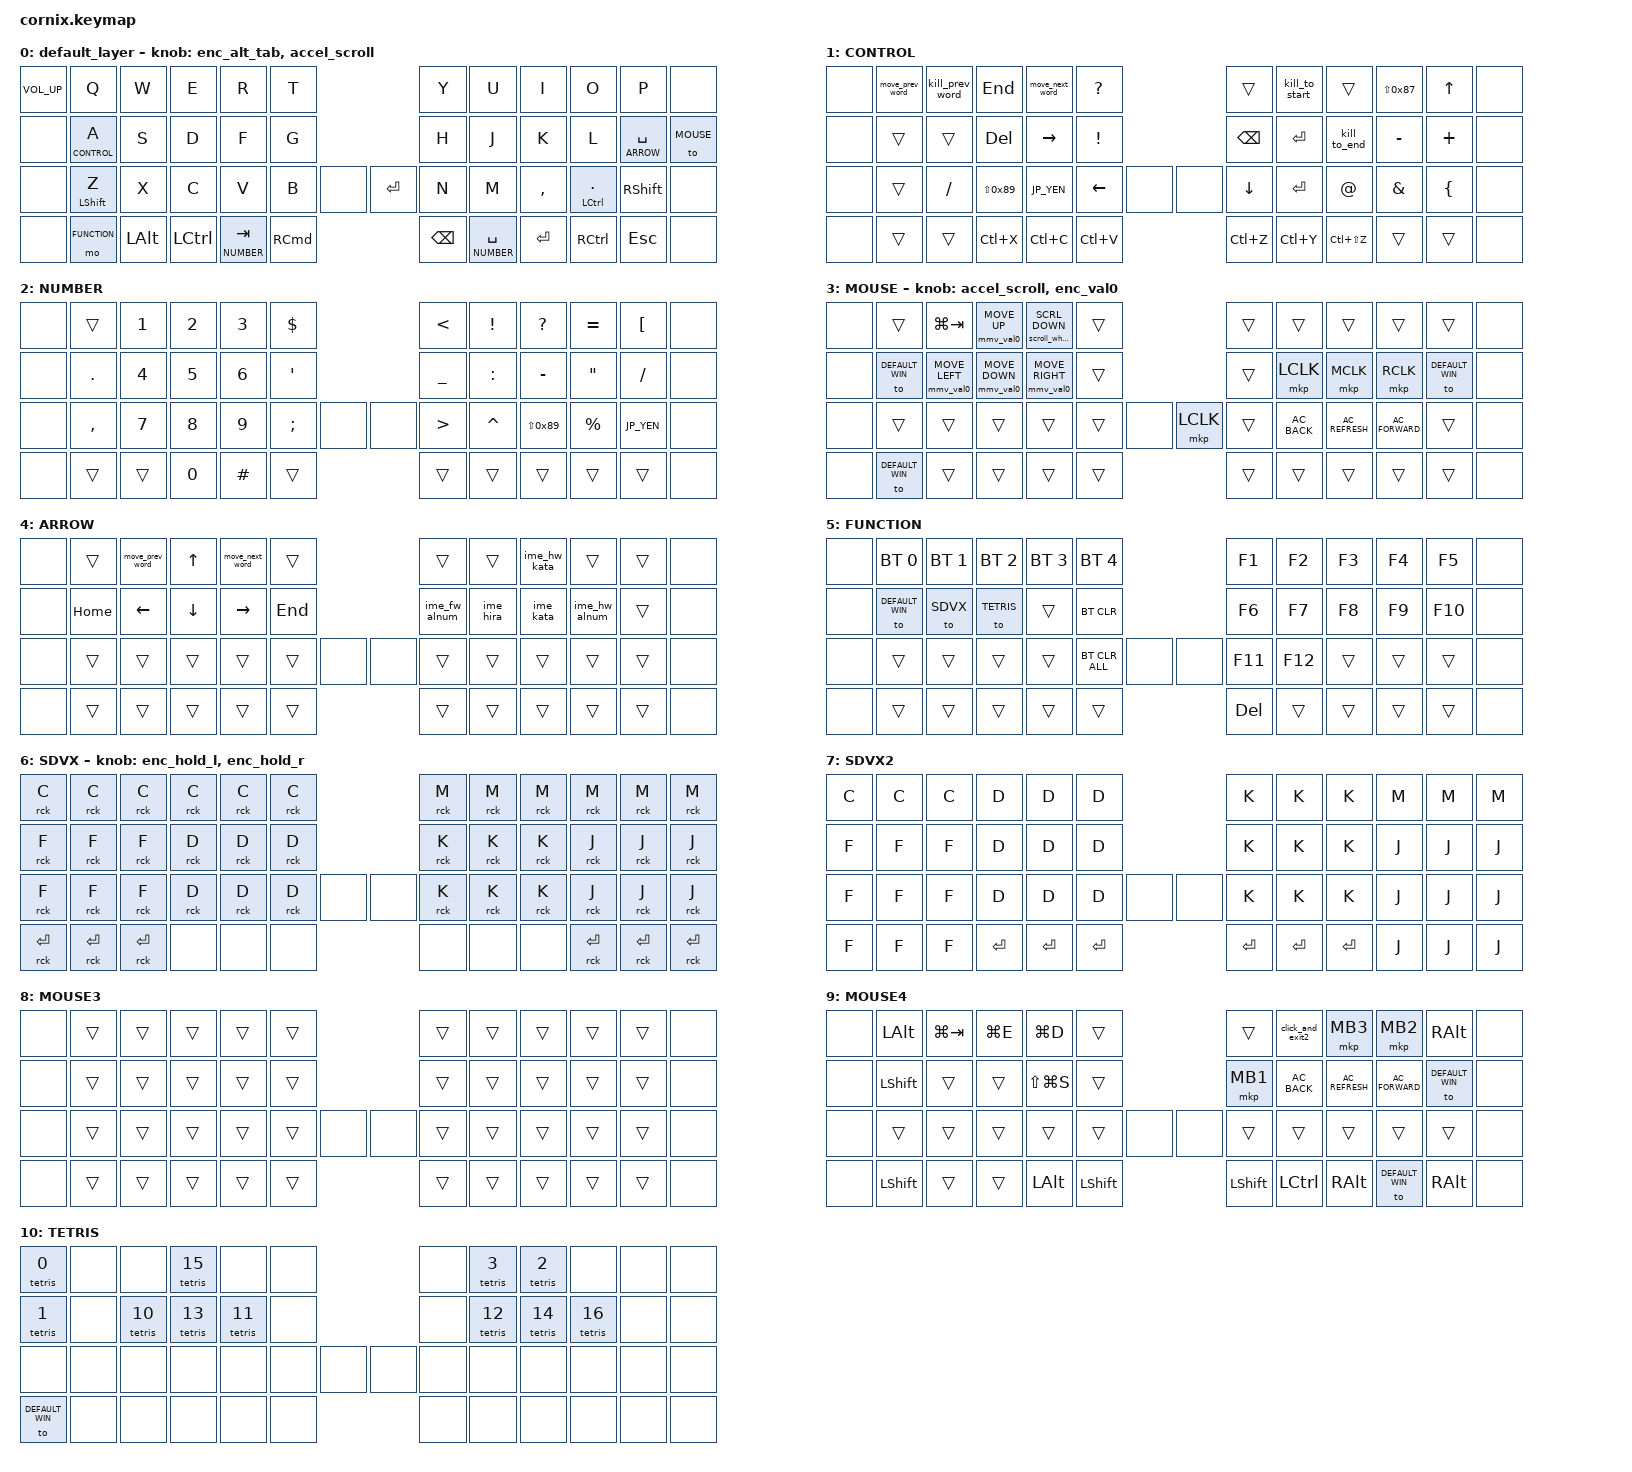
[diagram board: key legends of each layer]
/*
 * Cornix keymap - ported from your previous keyboard
 * Extra outer columns are set to &none.
 */

#include <behaviors.dtsi>
#include <dt-bindings/zmk/bt.h>
#include <dt-bindings/zmk/keys.h>
#include <dt-bindings/zmk/pointing.h>
#include <dt-bindings/zmk/modifiers.h>
#include <dt-bindings/zmk/behaviors.h>
#include <dt-bindings/zmk/mouse.h>
#include <input/processors.dtsi>

// -------------------------
// Layer defines (same as before)
// -------------------------
#define DEFAULT_WIN 0
#define DEFAULT_MAC 11
#define DEFAULT_IPAD 12
#define CONTROL 1
#define NUMBER 2
#define MOUSE 3
#define ARROW 4
#define FUNCTION 5
#define SDVX 6
#define SDVX2 7
#define MOUSE3 8
#define MOUSE4 9
#define TETRIS 10

// -------------------------
// JP key conversion (same as before)
// -------------------------
#define JP_DQUOTE       AT                // "
#define JP_AMPERSAND    CARET             // &
#define JP_QUOTE        AMPERSAND         // '
#define JP_EQUAL        UNDER             // =
#define JP_CARET        EQUAL             // ^
#define JP_YEN          0x89              // ¥
#define JP_PLUS         COLON             // +
#define JP_TILDE        PLUS              // ~
#define JP_PIPE         LS(0x89)          // |
#define JP_AT           LEFT_BRACKET      // @
#define JP_COLON        SINGLE_QUOTE      // :
#define JP_ASTERISK     DOUBLE_QUOTES     // *
#define JP_BACKQUOTE    LEFT_BRACE        // `
#define JP_UNDERSCORE   LS(0x87)          // _
#define JP_LBRACKET     RIGHT_BRACKET     // [
#define JP_RBRACKET     BACKSLASH         // ]
#define JP_LPAREN       ASTERISK          // (
#define JP_RPAREN       LEFT_PARENTHESIS  // )
#define JP_LBRACE       RIGHT_BRACE       // {
#define JP_RBRACE       PIPE              // }
#define JP_KANA         LANGUAGE_1        // かな
#define JP_EISU         LANGUAGE_2        // 英数
#define JP_HANZEN       GRAVE             // 半角/全角

&msc_input_listener {
    input-processors = <&zip_scroll_scaler 1 1>;
};

/ {

    scroll1_listener: scroll1_listener {
        compatible = "zmk,input-listener";
        status = "okay";
        device = <&scroll1>;
    };

    behaviors {
        sl_mouse: sticky_layer_for_mouse {
            compatible = "zmk,behavior-sticky-key";
            #binding-cells = <1>;
            bindings = <&mo>;
            release-after-ms = <200>;
            quick-release;
            ignore-modifiers;
        };

        colon_semi: colon_semi {
            compatible = "zmk,behavior-mod-morph";
            #binding-cells = <0>;
            bindings = <&kp SEMICOLON>, <&kp JP_COLON>;
            mods = <(MOD_LSFT|MOD_RSFT)>;
        };

        long_mt: long_mt {
            compatible = "zmk,behavior-hold-tap";
            #binding-cells = <2>;
            tapping-term-ms = <300>;
            flavor = "tap-preferred";
            bindings = <&kp>, <&kp>;
        };

        long_lt: long_lt {
            compatible = "zmk,behavior-hold-tap";
            #binding-cells = <2>;
            tapping-term-ms = <400>;
            flavor = "tap-preferred";
            bindings = <&mo>, <&kp>;
        };

        skm: sticky_key_mouse {
            compatible = "zmk,behavior-sticky-key";
            #binding-cells = <1>;
            bindings = <&msc>;
            release-after-ms = <10>;
            quick-release;
            ignore-modifiers;
        };

        rot_scroll2: rot_scroll2 {
            compatible = "zmk,behavior-sensor-rotate";
            #sensor-binding-cells = <0>;
            tap-ms = <20>;
            bindings = <&msc SCRL_UP>, <&msc SCRL_DOWN>;
        };

        enc_hold_l: enc_hold_l {
            compatible = "zmk,behavior-sensor-hold-step-rotate";
            #sensor-binding-cells = <0>;
            step-group-size = <0>;
            timeout-ms = <200>;
            direction-hold-mode = <0>;

            require-top-layer;


            bindings = <
                &kp A   /* hold_cw  */
                &kp S   /* hold_ccw */
                &none    /* step_cw  */
                &none   /* step_ccw */
            >;
        };
        enc_hold_r: enc_hold_r {
            compatible = "zmk,behavior-sensor-hold-step-rotate";
            #sensor-binding-cells = <0>;
            step-group-size = <0>;
            timeout-ms = <200>;
            direction-hold-mode = <0>;

            require-top-layer;

            bindings = <
                &kp L   /* hold_cw  */
                &kp SEMICOLON   /* hold_ccw */
                &none    /* step_cw  */
                &none   /* step_ccw */
            >;
        };
        rot_scroll: rot_scroll {
            compatible = "zmk,behavior-sensor-hold-rotate";
            #sensor-binding-cells = <0>;
            timeout-ms = <200>;
            bindings = <&msc SCRL_UP &msc SCRL_DOWN>;
        };

        rck: refcount_key {
            compatible = "zmk,behavior-refcount-key";
            #binding-cells = <1>;
        };

        enc_alt_tab: enc_alt_tab {
            compatible = "zmk,behavior-sensor-hold-step-rotate";
            #sensor-binding-cells = <0>;

            timeout-ms = <1000>;
            step-group-size = <5>;
            direction-hold-mode = <1>;

            quick-release;
            quick-release-allow-list = <LALT TAB LS(TAB)>;

            require-top-layer;

            bindings = <
                &kp LALT   /* hold_cw  */
                &kp LALT   /* hold_ccw */
                &kp TAB    /* step_cw  */
                &kp LS(TAB)    /* step_ccw */
            >;
        };

        enc_val0: enc_val0 {
            compatible = "zmk,behavior-sensor-value-adjust";
            #sensor-binding-cells = <0>;

            bindings = <&none &none>;

            index = <1>;
            min = <0>;
            max = <100>;
            step = <5>;
            ticks-per-step = <1>;
        };

        mmv_val0: mmv_val0 {
            compatible = "zmk,behavior-mouse-move-value";
            #binding-cells = <1>;
            binding = <&mmv>;
            index = <1>;

            value-min = <0>;
            value-max = <100>;
            min-speed = <200>;
            max-speed = <3000>;
            trigger-period-ms = <40>;
        };

        scroll_wheel: scroll_wheel {
            compatible = "zmk,behavior-input-two-axis";
            #binding-cells = <1>;
            x-input-code = <INPUT_REL_HWHEEL>;
            y-input-code = <INPUT_REL_WHEEL>;
            trigger-period-ms = <20>;
            time-to-max-speed-ms = <0>;  // 0にすると加速なし（即max）扱いになりやすい
            // acceleration-exponent = <0>; // 必要なら
        };


        scroll1: scroll1 {
            compatible = "zmk,behavior-input-two-axis-oneshot";
            #binding-cells = <1>;

            x-input-code = <INPUT_REL_HWHEEL>;
            y-input-code = <INPUT_REL_WHEEL>;

            trigger-period-ms = <16>;
            time-to-max-speed-ms = <0>;

            oneshot-scale = <1>;
        };
         scroll2: scroll2 {
            compatible = "zmk,behavior-sensor-rotate";
            #sensor-binding-cells = <0>;
            bindings = <&scroll1 MOVE(0,-1)>, <&scroll1 MOVE(0,1)>;
        };
        accel_scroll: accel_scroll {
            compatible = "zmk,behavior-sensor-rotate-accel";
            #sensor-binding-cells = <0>;

            // cw / ccw
            bindings = <&scroll1 MOVE(0,-1)>, <&scroll1 MOVE(0, 1)>;

            dt-min-ms = <10>;
            dt-max-ms = <50>;

            steps-min = <1>;
            steps-max = <5>;    // 要望どおり上限5

            curve = <1>;        // 0=linear, 1=quad, 2=cubic
            same-dir-only;      // 逆回転で加速リセットしたいならON
            dt-calc-steps = <5>;
        };

        tetris: tetris {
            compatible = "zmk,behavior-tetris";
            #binding-cells = <1>;

            fall-interval-ms = <1200>;
            idle-before-fall-ms = <1200>;

            draw-delay-char-ms = <6>;
            draw-delay-enter-ms = <25>;
            draw-delay-nav-ms = <12>;
            draw-delay-action-ms = <18>;
        };

        vset_mode1: value_set_mode1 {
            compatible = "zmk,behavior-value-set";
            #binding-cells = <0>;
            index = <1>;
            value = <1>;
        };

        vset_mode2: value_set_mode2 {
            compatible = "zmk,behavior-value-set";
            #binding-cells = <0>;
            index = <1>;
            value = <2>;
        };

        vsw_demo: value_switch_demo {
            compatible = "zmk,behavior-value-switch";
            #binding-cells = <0>;
            index = <1>;
            fallback = <0>;
            case-values = <1 2>;
            bindings = <&kp A &kp B &kp C>;
        };

    };


    macros {
        kill_to_end: kill_to_end {
            label = "KILL_TO_END";
            compatible = "zmk,behavior-macro";
            #binding-cells = <0>;
            bindings =
                <&macro_press &kp LSHFT>
                , <&macro_tap &kp END>
                , <&macro_release &kp LSHFT>
                , <&macro_tap &kp DEL>
                ;
        };

        kill_to_start: kill_to_start {
            label = "KILL_TO_START";
            compatible = "zmk,behavior-macro";
            #binding-cells = <0>;
            bindings =
                <&macro_press &kp LSHFT>
                , <&macro_tap &kp HOME>
                , <&macro_release &kp LSHFT>
                , <&macro_tap &kp DEL>
                ;
        };

        kill_prev_word: kill_prev_word {
            label = "KILL_PREV_WORD";
            compatible = "zmk,behavior-macro";
            #binding-cells = <0>;
            bindings =
                <&macro_press &kp LCTRL>
                , <&macro_press &kp LSHFT>
                , <&macro_tap &kp LEFT>
                , <&macro_release &kp LSHFT>
                , <&macro_release &kp LCTRL>
                , <&macro_tap &kp DEL>
                ;
        };

        click_and_exit: click_and_exit {
            label = "CLICK_AND_EXIT";
            compatible = "zmk,behavior-macro";
            #binding-cells = <0>;
            bindings =
                <&macro_press &mkp MB1>
                , <&macro_pause_for_release>
                , <&macro_release &mkp MB1>
                , <&macro_tap &to 0>
                ;
        };

        click_and_exit2: click_and_exit2 {
            label = "CLICK_AND_EXIT2";
            compatible = "zmk,behavior-macro";
            #binding-cells = <0>;
            bindings =
                <&macro_press &mkp MB1>
                , <&macro_pause_for_release>
                , <&macro_release &mkp MB1>
                , <&macro_tap &to 0>
                , <&macro_tap &sl_mouse 8>
                ;
        };

        ime_hira: ime_hira { label = "IME_HIRA"; compatible = "zmk,behavior-macro"; #binding-cells = <0>; bindings = <&macro_tap &kp F6>; };
        ime_kata: ime_kata { label = "IME_KATA"; compatible = "zmk,behavior-macro"; #binding-cells = <0>; bindings = <&macro_tap &kp F7>; };
        ime_hw_kata: ime_hw_kata { label = "IME_HW_KATA"; compatible = "zmk,behavior-macro"; #binding-cells = <0>; bindings = <&macro_tap &kp F8>; };
        ime_fw_alnum: ime_fw_alnum { label = "IME_FW_ALNUM"; compatible = "zmk,behavior-macro"; #binding-cells = <0>; bindings = <&macro_tap &kp F9>; };
        ime_hw_alnum: ime_hw_alnum { label = "IME_HW_ALNUM"; compatible = "zmk,behavior-macro"; #binding-cells = <0>; bindings = <&macro_tap &kp F10>; };

        move_prev_word: move_prev_word {
            label = "MOVE_PREV_WORD";
            compatible = "zmk,behavior-macro";
            #binding-cells = <0>;
            bindings =
                <&macro_press &kp LCTRL>
                , <&macro_tap &kp LEFT>
                , <&macro_release &kp LCTRL>
                ;
        };

        move_next_word: move_next_word {
            label = "MOVE_NEXT_WORD";
            compatible = "zmk,behavior-macro";
            #binding-cells = <0>;
            bindings =
                <&macro_press &kp LCTRL>
                , <&macro_tap &kp RIGHT>
                , <&macro_release &kp LCTRL>
                ;
        };

        press_pswd1: press_pswd1 {
            label = "PRESS_PSWD_1";
            compatible = "zmk,behavior-macro";
            #binding-cells = <0>;
            bindings =
                <&macro_tap &kp N8>
                , <&macro_tap &kp W>
                , <&macro_tap &kp S>
                , <&macro_tap &kp F>
                , <&macro_tap &kp C>
                , <&macro_tap &kp N8>
                , <&macro_tap &kp LS(Z)>
                , <&macro_tap &kp LS(P)>
                , <&macro_tap &kp N4>
                , <&macro_tap &kp N3>
                , <&macro_tap &kp I>
                , <&macro_tap &kp G>
                , <&macro_tap &kp LS(Z)>
                , <&macro_tap &kp P>
                , <&macro_tap &kp LS(B)>
                ;
        };

        press_pswd2: press_pswd2 {
            label = "PRESS_PSWD_2";
            compatible = "zmk,behavior-macro";
            #binding-cells = <0>;
            bindings =
                <&macro_tap &kp LS(B)>
                , <&macro_tap &kp I>
                , <&macro_tap &kp LS(S)>
                , <&macro_tap &kp N3>
                , <&macro_tap &kp J>
                , <&macro_tap &kp N6>
                , <&macro_tap &kp I>
                , <&macro_tap &kp LS(J)>
                , <&macro_tap &kp LS(R)>
                , <&macro_tap &kp LS(X)>
                , <&macro_tap &kp N3>
                , <&macro_tap &kp A>
                , <&macro_tap &kp LS(A)>
                , <&macro_tap &kp N5>
                , <&macro_tap &kp W>
                ;
        };

    };
    combos {
    compatible = "zmk,combos";

    // (E + R) -> {
    combo_lbrace {
        timeout-ms = <50>;
        key-positions = <3 4>;        // LT2(E)=3, LT1(R)=4
        bindings = <&kp JP_LBRACE>;
        layers = <DEFAULT_WIN>;
    };

    // (U + I) -> }
    combo_rbrace {
        timeout-ms = <50>;
        key-positions = <7 8>;        // RT1(U)=7, RT2(I)=8
        bindings = <&kp JP_RBRACE>;
        layers = <DEFAULT_WIN>;
    };

    // (D + F) -> (
    combo_lparen {
        timeout-ms = <50>;
        key-positions = <15 16>;      // LM2(D)=15, LM1(F)=16
        bindings = <&kp JP_LPAREN>;
        layers = <DEFAULT_WIN>;
    };

    // (J + K) -> )
    combo_rparen {
        timeout-ms = <50>;
        key-positions = <19 20>;      // RM1(J)=19, RM2(K)=20
        bindings = <&kp JP_RPAREN>;
        layers = <DEFAULT_WIN>;
    };

    // (C + V) -> [
    combo_lbracket {
        timeout-ms = <50>;
        key-positions = <27 28>;      // LB2(C)=27, LB1(V)=28
        bindings = <&kp JP_LBRACKET>;
        layers = <DEFAULT_WIN>;
    };

    // (M + ,) -> ]
    combo_rbracket {
        timeout-ms = <50>;
        key-positions = <33 34>;      // RB1(M)=33, RB2(,)=34
        bindings = <&kp JP_RBRACKET>;
        layers = <DEFAULT_WIN>;
    };

    // (L + Space) -> ; / : (shiftで切替)  ※あなたの colon_semi を使用
    combo_colon_semi {
        timeout-ms = <50>;
        key-positions = <21 22>;      // RM3(L)=21, RM4(あなたのSpaceキー)=22
        bindings = <&colon_semi>;
        layers = <DEFAULT_WIN>;
    };

    // (LCTRL + TAB) -> 英数 (LANG2)
    //  下段の配置を「… LALT, LCTRL, (NUMBER/TAB) …」にしている前提
    combo_eisu2 {
        timeout-ms = <50>;
        key-positions = <41 42>;      // LH2(LCTRL)=41, LH1(TAB)=42
        bindings = <&kp LANG2>;
        layers = <DEFAULT_WIN>;
    };

    // (Space + Enter) -> かな (LANG1)
    //  下段の配置を「… (NUMBER/SPACE), ENTER …」にしている前提
    combo_kana2 {
        timeout-ms = <50>;
        key-positions = <45 46>;      // RH1(SPACE)=45, RH2(ENTER)=46
        bindings = <&kp LANG1>;
        layers = <DEFAULT_WIN>;
    };
    sdvx_esc {
        timeout-ms = <50>;
        key-positions = <43 44>;      // RH1(SPACE)=45, RH2(ENTER)=46
        bindings = <&kp ESC>;
        layers = <SDVX SDVX2>;
    };
    sdvx_end {
        timeout-ms = <50>;
        key-positions = <41 46>;      // RH1(SPACE)=45, RH2(ENTER)=46
        bindings = <&to DEFAULT_WIN>;
        layers = <SDVX SDVX2>;
    };
    sdvx_start {
        timeout-ms = <50>;
        key-positions = <38 49>;      // RH1(SPACE)=45, RH2(ENTER)=46
        bindings = <&kp ENTER>;
        layers = <SDVX2>;
    };
    };


    keymap {
        compatible = "zmk,keymap";

        /* -------------------------
         * Layer 0: DEFAULT_WIN (Base)
         * Cornix: 12 / 12 / 14 / 12
         * outer extra columns => &none
         * ------------------------- */
        default_layer {
            bindings = <
                /* row1 (12) */
                &kp C_VOL_UP         &kp Q      &kp W     &kp E     &kp R        &kp T      &kp Y     &kp U        &kp I      &kp O      &kp P      &none

                /* row2 (12) */
                &none         &lt CONTROL A      &kp S     &kp D     &kp F        &kp G      &kp H     &kp J        &kp K      &kp L      &lt ARROW SPACE   &to MOUSE

                /* row3 (14) : keep center 2x &none */
                &none         &long_mt LSHFT Z      &kp X     &kp C     &kp V        &kp B      &none  &kp ENTER  &kp N     &kp M        &kp COMMA  &mt LCTRL DOT    &kp RSHFT  &none

                /* row4 (12) */
                &none         &mo FUNCTION  &kp LALT  &kp LCTRL  &lt NUMBER  TAB   &kp RCMD   &kp BSPC  &lt NUMBER SPACE   &kp ENTER  &kp RCTRL  &kp ESC   &none
            >;
            sensor-bindings = <&enc_alt_tab &accel_scroll>;
        };

        /* Layer 1: CONTROL */
        layer1 {
            label = "CONTROL";
            bindings = <
                &none   &move_prev_word     &kill_prev_word  &kp END          &move_next_word      &kp QUESTION     &trans             &kill_to_start      &trans             &kp JP_UNDERSCORE  &kp UP      &none
                &none   &trans              &trans           &kp DEL          &kp RIGHT            &kp EXCL         &kp BSPC           &kp ENTER           &kill_to_end       &kp MINUS          &kp JP_TILDE &none
                &none   &trans              &kp SLASH        &kp JP_PIPE      &kp JP_YEN           &kp LEFT         &none  &none  &kp DOWN         &kp ENTER           &kp JP_DQUOTE      &kp JP_QUOTE &kp JP_BACKQUOTE &none
                &none   &trans              &trans           &kp LC(X)        &kp LC(C)            &kp LC(V)        &kp LC(Z)          &kp LC(Y)           &kp LC(LS(Z))      &trans             &trans      &none
            >;
        };

        /* Layer 2: NUMBER */
        layer2 {
            label = "NUMBER";
            bindings = <
                &none   &trans   &kp N1   &kp N2   &kp N3     &kp DOLLAR     &kp LT    &kp EXCL      &kp QUESTION   &kp JP_CARET   &kp JP_AT   &none
                &none   &kp DOT  &kp N4   &kp N5   &kp N6     &kp JP_COLON   &kp JP_EQUAL &kp JP_PLUS &kp MINUS     &kp JP_ASTERISK &kp SLASH  &none
                &none   &kp COMMA &kp N7  &kp N8   &kp N9     &kp SEMICOLON  &none  &none  &kp GT    &kp JP_AMPERSAND &kp JP_PIPE  &kp PERCENT &kp JP_YEN &none
                &none   &trans   &trans   &kp N0   &kp HASH   &trans         &trans   &trans        &trans         &trans         &trans      &none
            >;
        };

        /* Layer 3: MOUSE (rewrite) */
        layer3 {
        label = "MOUSE";

        sensor-bindings = <&accel_scroll &enc_val0>;

        bindings = <
            /* row1 (12) */
            &none      &trans      &kp LG(TAB)           &mmv_val0 MOVE_UP        &scroll_wheel SCRL_DOWN        &trans      &trans        &trans          &trans        &trans        &trans     &none

            /* row2 (12) */
            &none      &to DEFAULT_WIN      &mmv_val0 MOVE_LEFT &mmv_val0 MOVE_DOWN &mmv_val0 MOVE_RIGHT     &trans   &trans      &mkp LCLK     &mkp MCLK        &mkp RCLK     &to DEFAULT_WIN       &none

            /* row3 (14) */
            &none      &trans      &trans        &trans        &trans        &trans      &none  &mkp LCLK  &trans        &kp C_AC_BACK       &kp C_AC_REFRESH    &kp C_AC_FORWARD      &trans     &none

            /* row4 (12) */
            &none      &to DEFAULT_WIN  &trans    &trans &trans &trans      &trans        &trans          &trans        &trans        &trans     &none
        >;
        };

        /* Layer 4: ARROW */
        layer4 {
            label = "ARROW";
            bindings = <
                &none  &trans  &move_prev_word  &kp UP   &move_next_word  &trans        &trans        &trans        &ime_hw_kata  &trans  &trans  &none
                &none  &kp HOME &kp LEFT        &kp DOWN &kp RIGHT        &kp END       &ime_fw_alnum &ime_hira     &ime_kata     &ime_hw_alnum &trans &none
                &none  &trans  &trans           &trans   &trans           &trans        &none  &none  &trans        &trans        &trans  &trans  &trans &none
                &none  &trans  &trans           &trans   &trans           &trans        &trans        &trans        &trans        &trans  &trans  &none
            >;
        };

        /* Layer 5: FUNCTION */
        layer5 {
            label = "FUNCTION";
            bindings = <
                &none  &bt BT_SEL 0  &bt BT_SEL 1  &bt BT_SEL 2  &bt BT_SEL 3  &bt BT_SEL 4   &kp F1  &kp F2  &kp F3  &kp F4  &kp F5  &none
                &none  &to DEFAULT_WIN &to SDVX     &to TETRIS        &trans        &bt BT_CLR      &kp F6  &kp F7  &kp F8  &kp F9  &kp F10 &none
                &none  &trans        &trans        &trans        &trans        &bt BT_CLR_ALL  &none  &none  &kp F11 &kp F12 &trans  &trans  &trans &none
                &none  &trans        &trans        &trans        &trans        &trans          &kp DEL &trans  &trans  &trans  &trans  &none
            >;
        };

        /* Layer 6: SDVX */
        layer6 {
            label = "SDVX";
            bindings = <
                &rck C  &rck C  &rck C  &rck C  &rck C  &rck C             &rck M &rck M &rck M &rck M &rck M &rck M
                &rck F  &rck F &rck F  &rck D &rck D &rck D               &rck K &rck K &rck K &rck J &rck J &rck J
                &rck F  &rck F &rck F &rck D &rck D &rck D   &none &none &rck K &rck K &rck K &rck J &rck J &rck J
                &rck ENTER &rck ENTER &rck ENTER &none &none &none                &none &none &none &rck ENTER &rck ENTER &rck ENTER 
            >;
            sensor-bindings = <&enc_hold_l &enc_hold_r>;
        };

        /* Layer 7: MOUSE2 */
        layer7 {
            label = "SDVX2";
            bindings = <
                &kp C  &kp C  &kp C  &kp D &kp D &kp D             &kp K &kp K &kp K &kp M &kp M &kp M
                &kp F  &kp F &kp F  &kp D &kp D &kp D               &kp K &kp K &kp K &kp J &kp J &kp J
                &kp F  &kp F &kp F &kp D &kp D &kp D   &none &none &kp K &kp K &kp K &kp J &kp J &kp J
                &kp F  &kp F &kp F &kp ENTER &kp ENTER &kp ENTER                &kp ENTER &kp ENTER &kp ENTER &kp J &kp J &kp J 
            >;
        };

        /* Layer 8: MOUSE3 */
        layer8 {
            label = "MOUSE3";
            bindings = <
                &none  &trans &trans &trans &trans &trans   &trans &trans &trans &trans &trans &none
                &none  &trans &trans &trans &trans &trans   &trans &trans &trans &trans &trans &none
                &none  &trans &trans &trans &trans &trans   &none &none &trans &trans &trans &trans &trans &none
                &none  &trans &trans &trans &trans &trans   &trans &trans &trans &trans &trans &none
            >;
        };

        /* Layer 9: MOUSE4 */
        layer9 {
            label = "MOUSE4";
            bindings = <
                &none  &kp LALT     &kp LG(TAB)  &kp LG(E)        &kp LG(D)       &trans      &trans           &click_and_exit2   &mkp MB3        &mkp MB2         &kp RALT      &none
                &none  &kp LSHFT    &trans       &trans           &kp LS(LG(S))   &trans      &mkp MB1         &kp C_AC_BACK      &kp C_AC_REFRESH &kp C_AC_FORWARD &to DEFAULT_WIN &none
                &none  &trans       &trans       &trans           &trans          &trans      &none &none &trans               &trans           &trans          &trans          &trans         &none
                &none  &kp LSHFT    &trans       &trans           &kp LALT         &kp LSHFT   &kp LSHFT        &kp LCTRL          &kp RALT         &to DEFAULT_WIN  &kp RALT       &none
            >;
        };

        /* Layer 10: TETRIS (blank as before) */
        layer10 {
            label = "TETRIS";
            bindings = <
                &tetris 0  &none &none &tetris 15 &none &none   &none &tetris 3 &tetris 2 &none &none &none
                &tetris 1  &none &tetris 10 &tetris 13 &tetris 11 &none   &none &tetris 12 &tetris 14 &tetris 16 &none &none
                &none  &none &none &none &none &none   &none &none &none &none &none &none &none &none
                &to DEFAULT_WIN  &none &none &none &none &none   &none &none &none &none &none &none
            >;
        };
    };
};
